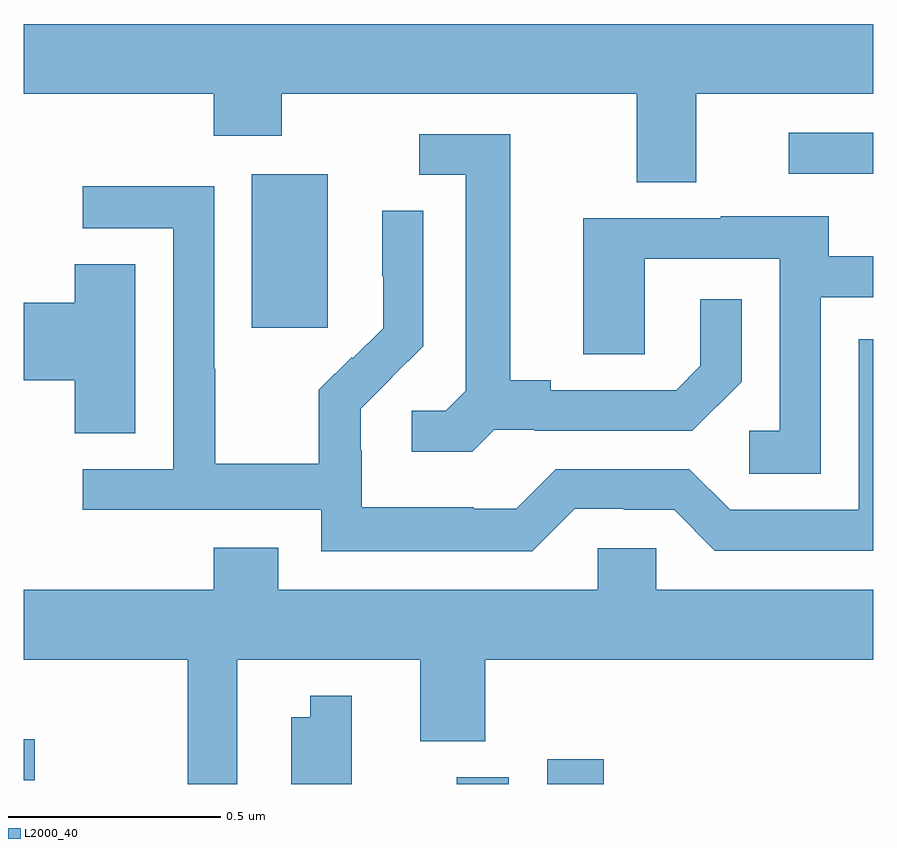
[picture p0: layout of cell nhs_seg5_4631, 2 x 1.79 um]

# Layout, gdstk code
import gdstk
lib = gdstk.Library(unit=1e-6, precision=1e-09)
def R(c, l, rs):  # rectangles x0, y0, x1, y1
    for r in rs: c.add(gdstk.rectangle(r[:2], r[2:], *l))
def P(c, l, *ps):  # polygons
    for p in ps: c.add(gdstk.Polygon(p, *l))
L2000_40 = (2000, 40)

nhs_seg5_4631 = lib.new_cell('nhs_seg5_4631')
R(nhs_seg5_4631, L2000_40, [(174.02,857.799,174.142,857.815), (174.233,857.799,174.365,857.857), (173,857.808,173.026,857.904), (173.537,858.873,173.716,859.234), (174.801,859.236,175,859.332)])
P(nhs_seg5_4631, L2000_40, [(174.583,859.424),(175,859.424),(175,859.588),(173,859.588),(173,859.424),(173.447,859.424),(173.447,859.325),(173.607,859.325),(173.607,859.424),(174.443,859.424),(174.443,859.216),(174.583,859.216)],
  [(174.108,858.633),(174.202,858.633),(174.202,858.63),(174.574,858.63),(174.69,858.746),(174.69,858.94),(174.593,858.94),(174.593,858.783),(174.536,858.726),(174.241,858.726),(174.241,858.749),(174.145,858.749),(174.145,859.329),(173.931,859.329),(173.931,859.233),(174.041,859.233),(174.041,858.725),(173.994,858.678),(173.913,858.678),(173.913,858.581),(174.056,858.581)],
  [(174.297,858.447),(174.413,858.447),(174.413,858.444),(174.531,858.444),(174.627,858.348),(175,858.348),(175,858.846),(174.966,858.846),(174.966,858.444),(174.663,858.444),(174.567,858.54),(174.252,858.54),(174.159,858.447),(174.059,858.447),(174.059,858.451),(173.796,858.451),(173.796,858.585),(173.794,858.585),(173.794,858.682),(173.868,858.756),(173.867,858.757),(173.94,858.83),(173.94,859.148),(173.844,859.148),(173.844,858.994),(173.846,858.994),(173.846,858.872),(173.775,858.801),(173.772,858.804),(173.695,858.727),(173.695,858.553),(173.451,858.553),(173.451,858.776),(173.448,858.776),(173.448,859.206),(173.139,859.206),(173.139,859.107),(173.352,859.107),(173.352,858.54),(173.139,858.54),(173.139,858.444),(173.7,858.444),(173.7,858.347),(174.197,858.347)],
  [(174.876,858.945),(175,858.945),(175,859.041),(174.895,859.041),(174.895,859.135),(174.641,859.135),(174.641,859.131),(174.317,859.131),(174.317,858.811),(174.462,858.811),(174.462,859.035),(174.78,859.035),(174.78,858.63),(174.708,858.63),(174.708,858.529),(174.876,858.529)],
  [(173.263,859.022),(173.12,859.022),(173.12,858.932),(173,858.932),(173,858.749),(173.12,858.749),(173.12,858.625),(173.263,858.625)],
  [(173.503,858.092),(173.933,858.092),(173.933,857.9),(174.086,857.9),(174.086,858.092),(175,858.092),(175,858.256),(174.489,858.256),(174.489,858.354),(174.351,858.354),(174.351,858.256),(173.599,858.256),(173.599,858.355),(173.447,858.355),(173.447,858.256),(173,858.256),(173,858.092),(173.386,858.092),(173.386,857.799),(173.503,857.799)],
  [(173.772,858.007),(173.675,858.007),(173.675,857.956),(173.63,857.956),(173.63,857.799),(173.772,857.799)])

lib.write_gds('nhs_seg5_4631.gds')
